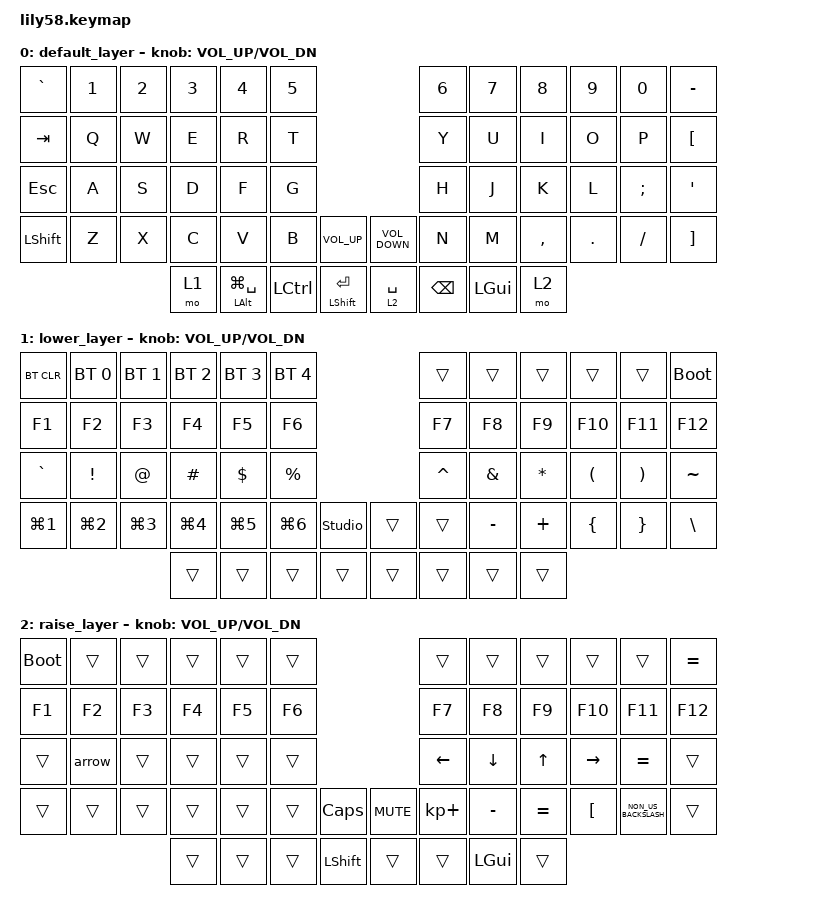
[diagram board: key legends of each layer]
/*
 * Copyright (c) 2020 The ZMK Contributors
 *
 * SPDX-License-Identifier: MIT
 */

#include <behaviors.dtsi>
#include <dt-bindings/zmk/bt.h>
#include <dt-bindings/zmk/keys.h>

/ {
    macros {
        arrow: arrow {
            compatible = "zmk,behavior-macro";
            #binding-cells = <0>;
            bindings = <&kp EQUAL &kp GREATER_THAN>;
            label = "ARROW";
        };
    };

    keymap {
        compatible = "zmk,keymap";

        default_layer {
            // ------------------------------------------------------------------------------------------------------------
            // |  ESC  |  1  |  2  |  3   |  4   |  5   |                   |  6   |  7    |  8    |  9   |   0   |   `   |
            // |  TAB  |  Q  |  W  |  E   |  R   |  T   |                   |  Y   |  U    |  I    |  O   |   P   |   -   |
            // |  CTRL |  A  |  S  |  D   |  F   |  G   |                   |  H   |  J    |  K    |  L   |   ;   |   '   |
            // | SHIFT |  Z  |  X  |  C   |  V   |  B   |   "["  |  |  "]"  |  N   |  M    |  ,    |  .   |   /   | SHIFT |
            //                     | ALT  | GUI  | LOWER|  SPACE |  | ENTER | RAISE| BSPC  | GUI   |

            bindings = <
&kp GRAVE       &kp N1  &kp N2  &kp N3  &kp N4                  &kp N5                                                     &kp N6         &kp N7        &kp N8     &kp N9   &kp N0    &kp MINUS
&kp TAB         &kp Q   &kp W   &kp E   &kp R                   &kp T                                                      &kp Y          &kp U         &kp I      &kp O    &kp P     &kp LEFT_BRACKET
&kp ESCAPE      &kp A   &kp S   &kp D   &kp F                   &kp G                                                      &kp H          &kp J         &kp K      &kp L    &kp SEMI  &kp SQT
&kp LEFT_SHIFT  &kp Z   &kp X   &kp C   &kp V                   &kp B             &kp C_VOLUME_UP       &kp C_VOLUME_DOWN  &kp N          &kp M         &kp COMMA  &kp DOT  &kp FSLH  &kp RIGHT_BRACKET
                                &mo 1   &mt LEFT_ALT LG(SPACE)  &kp LEFT_CONTROL  &mt LEFT_SHIFT RET    &lt 2 SPACE        &kp BACKSPACE  &kp LEFT_GUI  &mo 2
            >;

            sensor-bindings = <&inc_dec_kp C_VOL_UP C_VOL_DN>;
        };

        lower_layer {
            // ------------------------------------------------------------------------------------------------------------
            // | BTCLR | BT1 | BT2 |  BT3 |  BT4 |  BT5 |                   |      |       |       |      |       |       |
            // |  F1   |  F2 |  F3 |  F4  |  F5  |  F6  |                   |  F7  |  F8   |  F9   |  F10 |  F11  |  F12  |
            // |   `   |  !  |  @  |  #   |  $   |  %   |                   |  ^   |  &    |  *    |  (   |   )   |   ~   |
            // |       |     |     |      |      |      |  STUNL |  |       |      |  _    |  +    |  {   |   }   |  "|"  |
            //                     |      |      |      |        |  |       |      |       |       |

            bindings = <
&bt BT_CLR        &bt BT_SEL 0      &bt BT_SEL 1      &bt BT_SEL 2      &bt BT_SEL 3      &bt BT_SEL 4                                &trans     &trans     &trans     &trans    &trans    &bootloader
&kp F1            &kp F2            &kp F3            &kp F4            &kp F5            &kp F6                                      &kp F7     &kp F8     &kp F9     &kp F10   &kp F11   &kp F12
&kp GRAVE         &kp EXCL          &kp AT            &kp HASH          &kp DOLLAR        &kp PRCNT                                   &kp CARET  &kp AMPS   &kp ASTRK  &kp LPAR  &kp RPAR  &kp TILDE
&kp LG(NUMBER_1)  &kp LG(NUMBER_2)  &kp LG(NUMBER_3)  &kp LG(NUMBER_4)  &kp LG(NUMBER_5)  &kp LG(NUMBER_6)  &studio_unlock    &trans  &trans     &kp MINUS  &kp PLUS   &kp LBRC  &kp RBRC  &kp BACKSLASH
                                                      &trans            &trans            &trans            &trans            &trans  &trans     &trans     &trans
            >;

            sensor-bindings = <&inc_dec_kp C_VOL_UP C_VOL_DN>;
        };

        raise_layer {
            // ------------------------------------------------------------------------------------------------------------
            // |       |     |     |      |      |      |                   |      |       |       |      |       |       |
            // |   `   |  1  |  2  |  3   |  4   |  5   |                   |  6   |   7   |   8   |  9   |   0   |       |
            // |   F1  |  F2 |  F3 |  F4  |  F5  |  F6  |                   |      |   <-  |   v   |  ^   |  ->   |       |
            // |   F7  |  F8 |  F9 |  F10 |  F11 |  F12 |        |  |       |  +   |   -   |   =   |  [   |   ]   |   \   |
            //                     |      |      |      |        |  |       |      |       |       |

            bindings = <
&bootloader  &trans  &trans  &trans  &trans  &trans                                &trans          &trans          &trans        &trans           &trans                &kp EQUAL
&kp F1       &kp F2  &kp F3  &kp F4  &kp F5  &kp F6                                &kp F7          &kp F8          &kp F9        &kp F10          &kp F11               &kp F12
&trans       &arrow  &trans  &trans  &trans  &trans                                &kp LEFT_ARROW  &kp DOWN_ARROW  &kp UP_ARROW  &kp RIGHT_ARROW  &kp EQUAL             &trans
&trans       &trans  &trans  &trans  &trans  &trans  &kp CAPSLOCK      &kp K_MUTE  &kp KP_PLUS     &kp MINUS       &kp EQUAL     &kp LBKT         &kp NON_US_BACKSLASH  &trans
                             &trans  &trans  &trans  &kp LEFT_SHIFT    &trans      &trans          &kp LGUI        &trans
            >;

            sensor-bindings = <&inc_dec_kp C_VOL_UP C_VOL_DN>;
        };

        extra1 { status = "reserved"; };

        extra2 { status = "reserved"; };
    };
};
